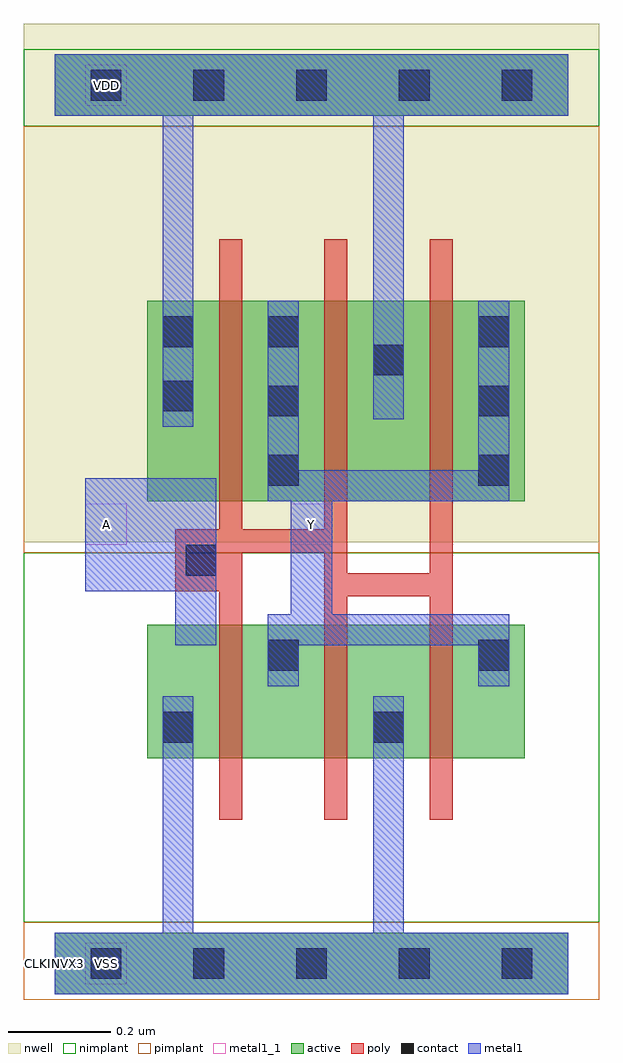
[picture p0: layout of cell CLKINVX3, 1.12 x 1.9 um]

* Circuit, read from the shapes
.subckt CLKINVX3 A VDD VSS Y
M1 Y A VSS VSS nfet w=0.26u l=0.045u m=3
M2 Y A VDD VDD pfet w=0.39u l=0.045u m=3
.ends

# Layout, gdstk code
import gdstk
lib = gdstk.Library(unit=1e-6, precision=5e-10)
def R(c, l, rs):  # rectangles x0, y0, x1, y1
    for r in rs: c.add(gdstk.rectangle(r[:2], r[2:], *l))
def A(c, l, x, y, w, h, nx, ny, dx, dy):  # array of equal rectangles
    R(c, l, [(x+i*dx, y+j*dy, x+i*dx+w, y+j*dy+h) for i in range(nx) for j in range(ny)])
def P(c, l, *ps):  # polygons
    for p in ps: c.add(gdstk.Polygon(p, *l))
active = (1, 0)
nwell = (2, 0)
poly = (3, 0)
nimplant = (4, 0)
pimplant = (5, 0)
contact = (6, 0)
metal1 = (7, 0)
metal1_1 = (7, 1)

clkinvx3 = lib.new_cell('CLKINVX3')
R(clkinvx3, active, [(0,-0.06,1,0.06), (0.18,0.4,0.915,0.66), (0.18,0.9,0.915,1.29), (0,1.65,1,1.77)])
R(clkinvx3, nwell, [(-0.06,0.82,1.06,1.83)])
P(clkinvx3, poly, [(0.32,1.41),(0.365,1.41),(0.365,0.845),(0.525,0.845),(0.525,1.41),(0.57,1.41),(0.57,0.76),(0.73,0.76),(0.73,1.41),(0.775,1.41),(0.775,0.28),(0.73,0.28),(0.73,0.715),(0.57,0.715),(0.57,0.28),(0.525,0.28),(0.525,0.8),(0.365,0.8),(0.365,0.28),(0.32,0.28),(0.32,0.725),(0.235,0.725),(0.235,0.845),(0.32,0.845)])
R(clkinvx3, nimplant, [(-0.06,0.08,1.06,0.8), (-0.06,1.63,1.06,1.78)])
R(clkinvx3, pimplant, [(-0.06,-0.07,1.06,0.08), (-0.06,0.8,1.06,1.63)])
A(clkinvx3, contact, 0.07, -0.03, 0.06, 0.06, 5, 2, 0.2, 1.71)
A(clkinvx3, contact, 0.415, 0.93, 0.06, 0.06, 1, 3, 0, 0.135)
A(clkinvx3, contact, 0.825, 0.93, 0.06, 0.06, 1, 3, 0, 0.135)
R(clkinvx3, contact, [(0.21,0.43,0.27,0.49), (0.62,0.43,0.68,0.49), (0.415,0.57,0.475,0.63), (0.825,0.57,0.885,0.63), (0.255,0.755,0.315,0.815), (0.21,1.075,0.27,1.135), (0.62,1.145,0.68,1.205), (0.21,1.2,0.27,1.26)])
P(clkinvx3, metal1, [(0.21,0.52),(0.27,0.52),(0.27,0.06),(0.62,0.06),(0.62,0.52),(0.68,0.52),(0.68,0.06),(1,0.06),(1,-0.06),(0,-0.06),(0,0.06),(0.21,0.06)],
  [(0,1.77),(1,1.77),(1,1.65),(0.68,1.65),(0.68,1.06),(0.62,1.06),(0.62,1.65),(0.27,1.65),(0.27,1.045),(0.21,1.045),(0.21,1.65),(0,1.65)],
  [(0.415,1.29),(0.475,1.29),(0.475,0.96),(0.825,0.96),(0.825,1.29),(0.885,1.29),(0.885,0.9),(0.54,0.9),(0.54,0.68),(0.885,0.68),(0.885,0.54),(0.825,0.54),(0.825,0.62),(0.475,0.62),(0.475,0.54),(0.415,0.54),(0.415,0.68),(0.46,0.68),(0.46,0.9),(0.415,0.9)],
  [(0.06,0.945),(0.315,0.945),(0.315,0.62),(0.235,0.62),(0.235,0.725),(0.06,0.725)])
A(clkinvx3, metal1_1, 0.06, -0.04, 0.08, 0.08, 1, 3, 0, 0.855)
R(clkinvx3, metal1_1, [(0.46,0.815,0.54,0.895)])
clkinvx3.add(gdstk.Label('Y', (0.5,0.855), layer=7, texttype=1))
clkinvx3.add(gdstk.Label('A', (0.1,0.855), layer=7, texttype=1))
clkinvx3.add(gdstk.Label('VDD', (0.1,1.71), layer=7, texttype=1))
clkinvx3.add(gdstk.Label('VSS', (0.1,0), layer=7, texttype=1))
clkinvx3.add(gdstk.Label('CLKINVX3', (0,0), layer=63, texttype=0))

lib.write_gds('CLKINVX3.gds')
